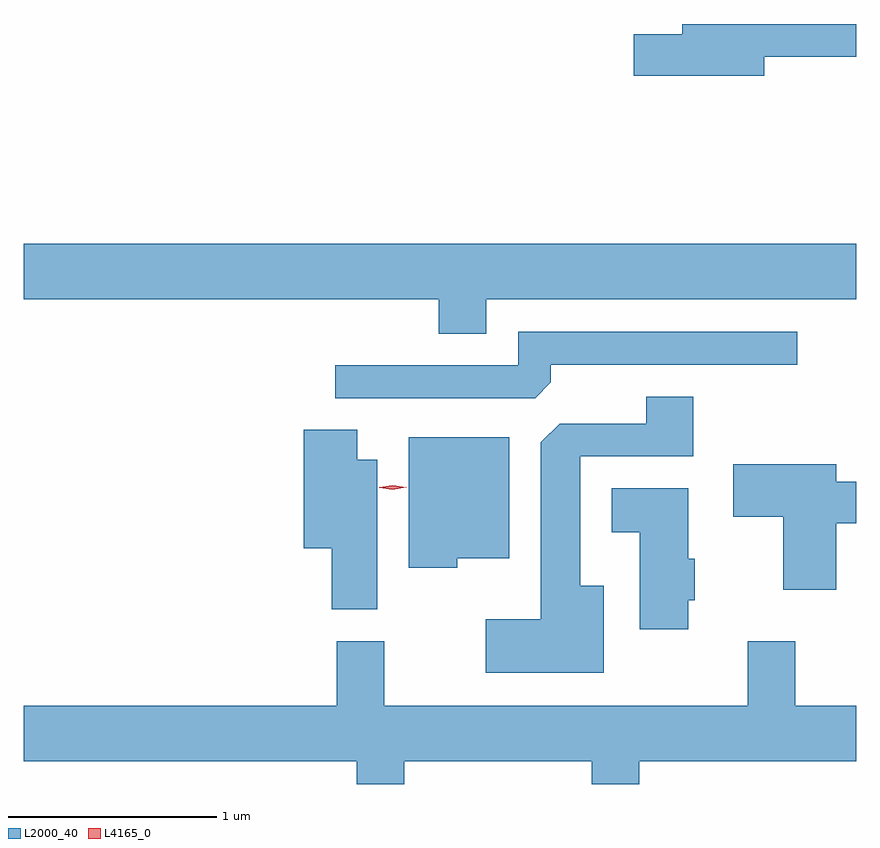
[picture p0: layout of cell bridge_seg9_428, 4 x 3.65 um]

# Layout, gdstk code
import gdstk
lib = gdstk.Library(unit=1e-6, precision=1e-09)
def P(c, l, *ps):  # polygons
    for p in ps: c.add(gdstk.Polygon(p, *l))
L2000_40 = (2000, 40)
L4165_0 = (4165, 0)

bridge_seg9_428 = lib.new_cell('bridge_seg9_428')
P(bridge_seg9_428, L2000_40, [(303.954,2037.381),(304.396,2037.381),(304.396,2037.539),(303.561,2037.539),(303.561,2037.489),(303.326,2037.489),(303.326,2037.291),(303.954,2037.291)],
  [(302.619,2036.216),(304.396,2036.216),(304.396,2036.484),(300.396,2036.484),(300.396,2036.216),(302.391,2036.216),(302.391,2036.051),(302.619,2036.051)],
  [(302.929,2035.817),(302.929,2035.901),(304.113,2035.901),(304.113,2036.059),(302.771,2036.059),(302.771,2035.899),(301.893,2035.899),(301.893,2035.741),(302.854,2035.741)],
  [(303.184,2034.839),(303.069,2034.839),(303.069,2035.461),(303.614,2035.461),(303.614,2035.749),(303.386,2035.749),(303.386,2035.619),(302.972,2035.619),(302.881,2035.529),(302.881,2034.679),(302.616,2034.679),(302.616,2034.421),(303.184,2034.421)],
  [(302.094,2035.444),(301.999,2035.444),(301.999,2035.589),(301.741,2035.589),(301.741,2035.021),(301.876,2035.021),(301.876,2034.726),(302.094,2034.726)],
  [(302.479,2034.971),(302.729,2034.971),(302.729,2035.554),(302.246,2035.554),(302.246,2034.926),(302.479,2034.926)],
  [(304.299,2035.141),(304.396,2035.141),(304.396,2035.339),(304.299,2035.339),(304.299,2035.424),(303.806,2035.424),(303.806,2035.171),(304.046,2035.171),(304.046,2034.821),(304.299,2034.821)],
  [(303.589,2034.771),(303.619,2034.771),(303.619,2034.969),(303.589,2034.969),(303.589,2035.309),(303.221,2035.309),(303.221,2035.096),(303.356,2035.096),(303.356,2034.631),(303.589,2034.631)],
  [(302.224,2033.996),(303.126,2033.996),(303.126,2033.887),(303.354,2033.887),(303.354,2033.996),(304.396,2033.996),(304.396,2034.264),(304.104,2034.264),(304.104,2034.574),(303.876,2034.574),(303.876,2034.264),(302.129,2034.264),(302.129,2034.574),(301.901,2034.574),(301.901,2034.264),(300.396,2034.264),(300.396,2033.996),(301.996,2033.996),(301.996,2033.887),(302.224,2033.887)])
P(bridge_seg9_428, L4165_0, [(302.17,2035.302),(302.103,2035.311),(302.103,2035.312),(302.103,2035.312),(302.169,2035.322),(302.235,2035.313),(302.236,2035.313),(302.235,2035.312)])

lib.write_gds('bridge_seg9_428.gds')
